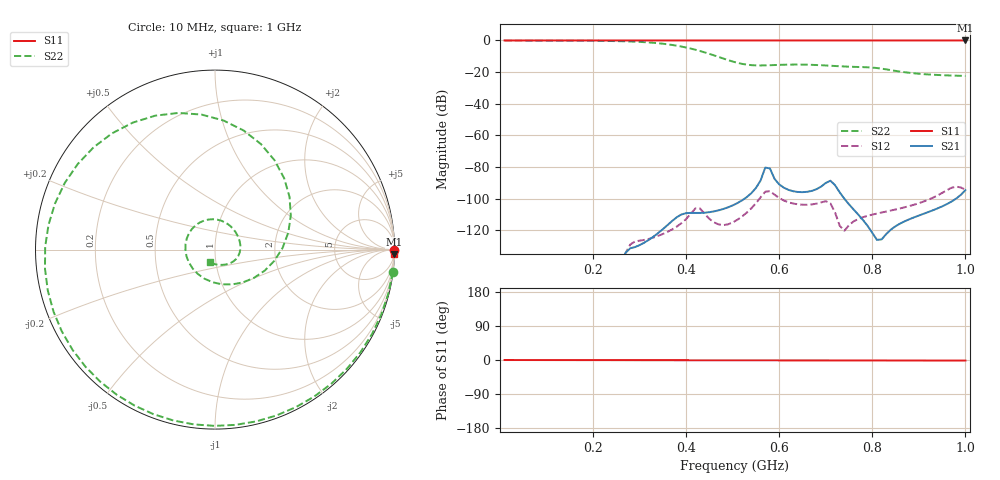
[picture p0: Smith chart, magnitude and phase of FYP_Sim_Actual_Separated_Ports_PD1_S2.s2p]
! Touchstone file from project FYP_Sim_Actual_Separated_Ports
! Exported from HFSS 13.0.2
# GHZ S MA R 50.000000
! Terminal data exported
! Port[1] = PD1_Void_Port_T1
! Port[2] = Radiating_Plate_T1
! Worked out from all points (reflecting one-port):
!   100 points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, 10 MHz to 1 GHz, reference 50 ohm
!   lowest |S11| = 0.0 dB at 1 GHz (marker M1)
!   phase of S11 starts at -0 deg and turns -2 deg over the sweep
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0.01  1 -0.0  6.368e-11 124.2  7.294e-11 127.1  0.9984 -7.2
0.05  1 -0.1  8.013e-10 -17.7  8.066e-10 -17.7  0.992 -35.2
0.1  1 -0.2  3.122e-09 -166.8  3.12e-09 -166.8  0.9855 -69.7
0.14  1 -0.2  1.419e-08 -178.7  1.645e-08 172.9  0.9811 -96.9
0.18  1 -0.3  3.203e-08 177.3  3.584e-08 170.6  0.9765 -124.1
0.22  1 -0.3  6.052e-08 177.3  5.788e-08 -179.8  0.9675 -151.9
0.26  1 -0.4  1.062e-07 -122.1  9.719e-08 -85.8  0.9463 179.1
0.3  1 -0.5  3.404e-07 91.6  4.728e-07 71.9  0.9012 148.1
0.34  1 -0.5  8.235e-07 83.9  6.69e-07 93.9  0.8171 114.0
0.36  1 -0.5  1.467e-06 66.7  8.971e-07 92.6  0.7561 95.7
0.38  1 -0.6  2.61e-06 36.1  1.319e-06 86.4  0.6823 76.4
0.42  1 -0.6  3.549e-06 -34.5  4.959e-06 21.5  0.5081 35.2
0.44  1 -0.7  3.615e-06 -51.1  3.292e-06 -64.9  0.4189 13.0
0.47  1 -0.7  4.301e-06 -64.6  1.535e-06 -122.3  0.3008 -23.0
0.51  1 -0.8  7.247e-06 -73.5  2.156e-06 176.7  0.1969 -78.9
0.55  1 -0.8  2.18e-05 -73.8  7.182e-06 135.3  0.163 -139.7
0.58  1 -0.9  9.041e-05 53.9  1.733e-05 43.8  0.1649 -179.3
0.67  1 -1.0  1.766e-05 74.3  6.59e-06 -9.7  0.1697 94.0
0.77  1 -1.2  3.125e-06 -68.8  2.294e-06 -70.5  0.145 18.7
0.84  1 -1.3  1.058e-06 67.9  4.231e-06 -56.7  0.1154 -39.7
0.91  1 -1.4  3.327e-06 80.6  8.108e-06 -46.9  0.08639 -77.6
1  1 -1.5  1.867e-05 76.1  1.921e-05 59.4  0.07577 -111.2
